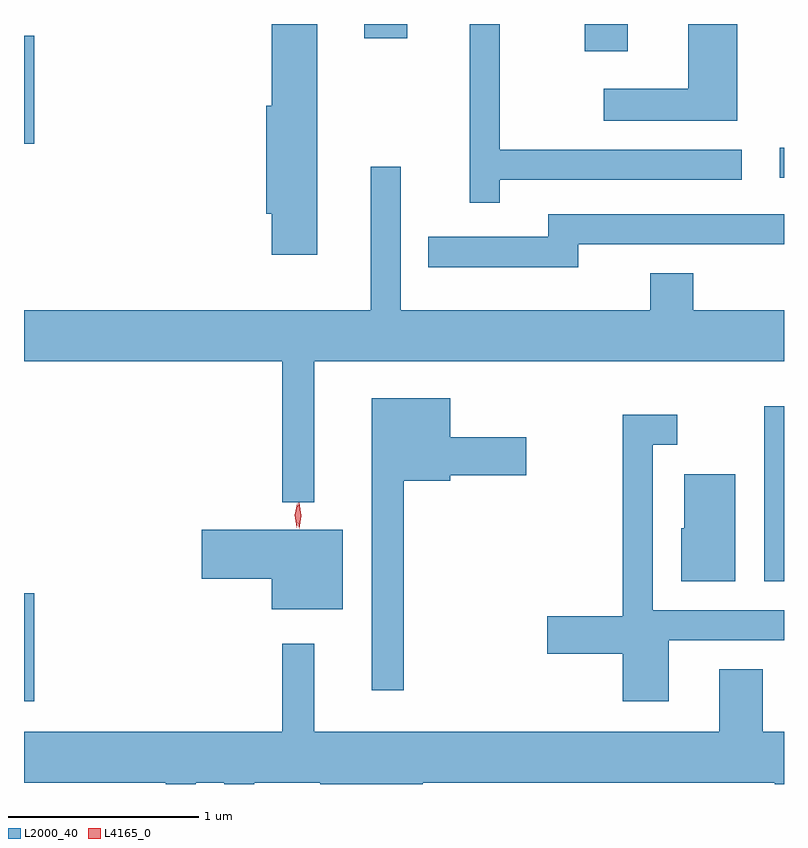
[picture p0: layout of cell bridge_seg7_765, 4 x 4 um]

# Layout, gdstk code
import gdstk
lib = gdstk.Library(unit=1e-6, precision=1e-09)
def R(c, l, rs):  # rectangles x0, y0, x1, y1
    for r in rs: c.add(gdstk.rectangle(r[:2], r[2:], *l))
def P(c, l, *ps):  # polygons
    for p in ps: c.add(gdstk.Polygon(p, *l))
L2000_40 = (2000, 40)
L4165_0 = (4165, 0)

bridge_seg7_765 = lib.new_cell('bridge_seg7_765')
R(bridge_seg7_765, L2000_40, [(244.701,1743.606,244.754,1744.174), (248.596,1744.236,248.701,1745.159), (248.678,1746.361,248.701,1746.519), (244.701,1746.541,244.754,1747.109), (247.651,1747.026,247.879,1747.17), (246.491,1747.096,246.719,1747.17)])
P(bridge_seg7_765, L2000_40, [(246.244,1747.17),(246.006,1747.17),(246.006,1746.739),(245.976,1746.739),(245.976,1746.171),(246.006,1746.171),(246.006,1745.956),(246.244,1745.956)],
  [(248.454,1747.17),(248.196,1747.17),(248.196,1746.829),(247.753,1746.829),(247.753,1746.661),(248.454,1746.661)],
  [(247.204,1746.351),(248.478,1746.351),(248.478,1746.509),(247.204,1746.509),(247.204,1747.17),(247.046,1747.17),(247.046,1746.228),(247.204,1746.228)],
  [(246.229,1745.396),(248.701,1745.396),(248.701,1745.664),(248.224,1745.664),(248.224,1745.859),(247.996,1745.859),(247.996,1745.664),(246.684,1745.664),(246.684,1746.418),(246.526,1746.418),(246.526,1745.664),(244.701,1745.664),(244.701,1745.396),(246.061,1745.396),(246.061,1744.653),(246.229,1744.653)],
  [(247.619,1746.011),(248.701,1746.011),(248.701,1746.169),(247.461,1746.169),(247.461,1746.049),(246.828,1746.049),(246.828,1745.891),(247.619,1745.891)],
  [(246.699,1744.766),(246.944,1744.766),(246.944,1744.796),(247.344,1744.796),(247.344,1744.994),(246.944,1744.994),(246.944,1745.199),(246.531,1745.199),(246.531,1743.663),(246.699,1743.663)],
  [(248.094,1743.926),(248.701,1743.926),(248.701,1744.084),(248.009,1744.084),(248.009,1744.956),(248.138,1744.956),(248.138,1745.114),(247.851,1745.114),(247.851,1744.054),(247.456,1744.054),(247.456,1743.856),(247.851,1743.856),(247.851,1743.606),(248.094,1743.606)],
  [(248.444,1744.799),(248.176,1744.799),(248.176,1744.515),(248.161,1744.515),(248.161,1744.236),(248.444,1744.236)],
  [(246.379,1744.509),(245.636,1744.509),(245.636,1744.251),(246.006,1744.251),(246.006,1744.091),(246.379,1744.091)],
  [(245.604,1743.176),(245.756,1743.176),(245.756,1743.17),(245.914,1743.17),(245.914,1743.176),(246.261,1743.176),(246.261,1743.17),(246.799,1743.17),(246.799,1743.176),(248.651,1743.176),(248.651,1743.17),(248.701,1743.17),(248.701,1743.444),(248.589,1743.444),(248.589,1743.774),(248.361,1743.774),(248.361,1743.444),(246.229,1743.444),(246.229,1743.908),(246.061,1743.908),(246.061,1743.444),(244.701,1743.444),(244.701,1743.176),(245.446,1743.176),(245.446,1743.17),(245.604,1743.17)])
P(bridge_seg7_765, L4165_0, [(246.136,1744.52),(246.136,1744.521),(246.127,1744.584),(246.138,1744.646),(246.138,1744.647),(246.138,1744.646),(246.147,1744.583),(246.137,1744.521)],
  [(246.149,1744.514),(246.139,1744.582),(246.148,1744.65),(246.148,1744.65),(246.149,1744.65),(246.159,1744.582),(246.15,1744.514),(246.15,1744.514)])

lib.write_gds('bridge_seg7_765.gds')
